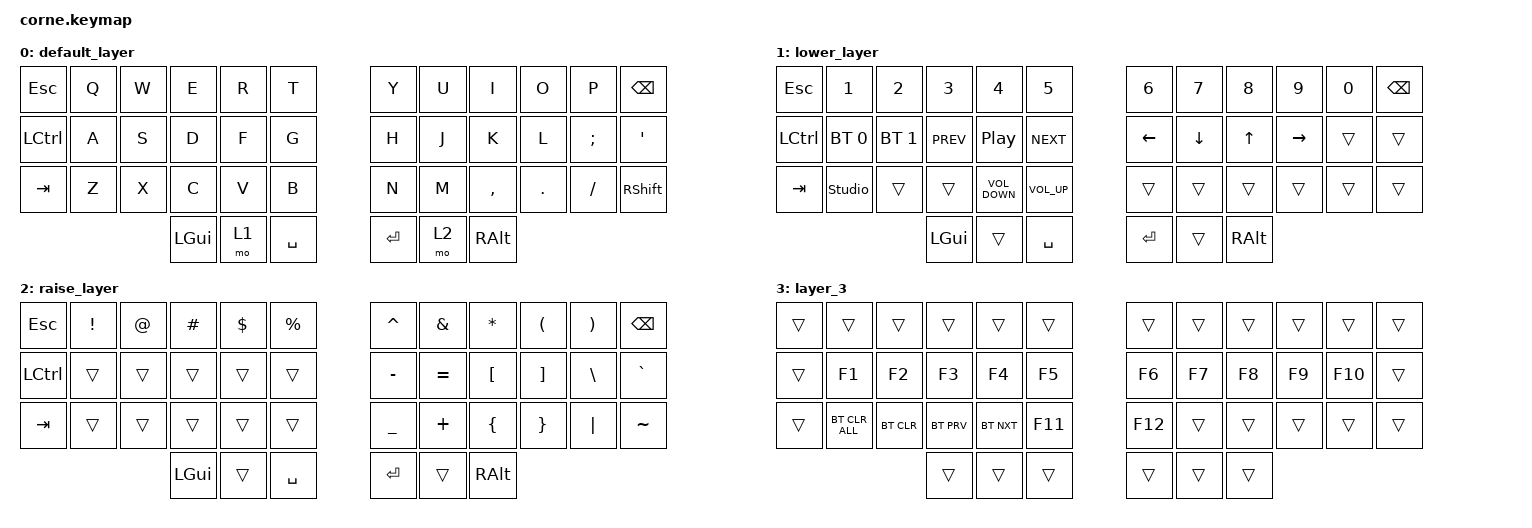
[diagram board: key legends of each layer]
/*
 * Copyright (c) 2020 The ZMK Contributors
 *
 * SPDX-License-Identifier: MIT
 */

#include <behaviors.dtsi>
#include <dt-bindings/zmk/bt.h>
#include <dt-bindings/zmk/keys.h>

/ {
    combos {
        compatible = "zmk,combos";

        adjust_layer {
            bindings = <&mo 3>;
            key-positions = <37 40>;
        };
    };

    keymap {
        compatible = "zmk,keymap";

        default_layer {
            // -----------------------------------------------------------------------------------------
            // |  TAB |  Q  |  W  |  E  |  R  |  T  |   |  Y  |  U   |  I  |  O  |  P  | BKSP |
            // | CTRL |  A  |  S  |  D  |  F  |  G  |   |  H  |  J   |  K  |  L  |  ;  |  '   |
            // | SHFT |  Z  |  X  |  C  |  V  |  B  |   |  N  |  M   |  ,  |  .  |  /  | ESC  |
            //                    | GUI | LWR | SPC |   | ENT | RSE  | ALT |

            bindings = <
&kp ESCAPE  &kp Q  &kp W  &kp E     &kp R  &kp T        &kp Y    &kp U  &kp I      &kp O    &kp P     &kp BSPC
&kp LCTRL   &kp A  &kp S  &kp D     &kp F  &kp G        &kp H    &kp J  &kp K      &kp L    &kp SEMI  &kp SQT
&kp TAB     &kp Z  &kp X  &kp C     &kp V  &kp B        &kp N    &kp M  &kp COMMA  &kp DOT  &kp FSLH  &kp RIGHT_SHIFT
                          &kp LGUI  &mo 1  &kp SPACE    &kp RET  &mo 2  &kp RALT
            >;
        };

        lower_layer {
            // -----------------------------------------------------------------------------------------
            // |  TAB |  1  |  2  |  3  |  4  |  5  |   |  6  |  7  |  8  |  9  |  0  | BKSP |
            // | BTCLR| BT1 | BT2 | BT3 | BT4 | BT5 |   | LFT | DWN |  UP | RGT |     |      |
            // | SHFT |     |     |     |     |     |   |     |     |     |     |     |      |
            //                    | GUI |     | SPC |   | ENT |     | ALT |

            bindings = <
&kp ESCAPE  &kp N1          &kp N2        &kp N3      &kp N4             &kp N5             &kp N6    &kp N7    &kp N8    &kp N9     &kp N0  &kp BSPC
&kp LCTRL   &bt BT_SEL 0    &bt BT_SEL 1  &kp C_PREV  &kp C_PLAY_PAUSE   &kp C_NEXT         &kp LEFT  &kp DOWN  &kp UP    &kp RIGHT  &trans  &trans
&kp TAB     &studio_unlock  &trans        &trans      &kp C_VOLUME_DOWN  &kp C_VOLUME_UP    &trans    &trans    &trans    &trans     &trans  &trans
                                          &kp LGUI    &trans             &kp SPACE          &kp RET   &trans    &kp RALT
            >;
        };

        raise_layer {
            // -----------------------------------------------------------------------------------------
            // |  TAB |  !  |  @  |  #  |  $  |  %  |   |  ^  |  &  |  *  |  (  |  )  | BKSP |
            // | CTRL |     |     |     |     |     |   |  -  |  =  |  [  |  ]  |  \  |  `   |
            // | SHFT |     |     |     |     |     |   |  _  |  +  |  {  |  }  | "|" |  ~   |
            //                    | GUI |     | SPC |   | ENT |     | ALT |

            bindings = <
&kp ESCAPE  &kp EXCL  &kp AT  &kp HASH  &kp DLLR  &kp PRCNT    &kp CARET  &kp AMPS   &kp ASTRK  &kp LPAR  &kp RPAR  &kp BSPC
&kp LCTRL   &trans    &trans  &trans    &trans    &trans       &kp MINUS  &kp EQUAL  &kp LBKT   &kp RBKT  &kp BSLH  &kp GRAVE
&kp TAB     &trans    &trans  &trans    &trans    &trans       &kp UNDER  &kp PLUS   &kp LBRC   &kp RBRC  &kp PIPE  &kp TILDE
                              &kp LGUI  &trans    &kp SPACE    &kp RET    &trans     &kp RALT
            >;
        };

        layer_3 {
            bindings = <
&trans  &trans          &trans      &trans      &trans      &trans     &trans   &trans  &trans  &trans  &trans   &trans
&trans  &kp F1          &kp F2      &kp F3      &kp F4      &kp F5     &kp F6   &kp F7  &kp F8  &kp F9  &kp F10  &trans
&trans  &bt BT_CLR_ALL  &bt BT_CLR  &bt BT_PRV  &bt BT_NXT  &kp F11    &kp F12  &trans  &trans  &trans  &trans   &trans
                                    &trans      &trans      &trans     &trans   &trans  &trans
            >;
        };
    };
};
